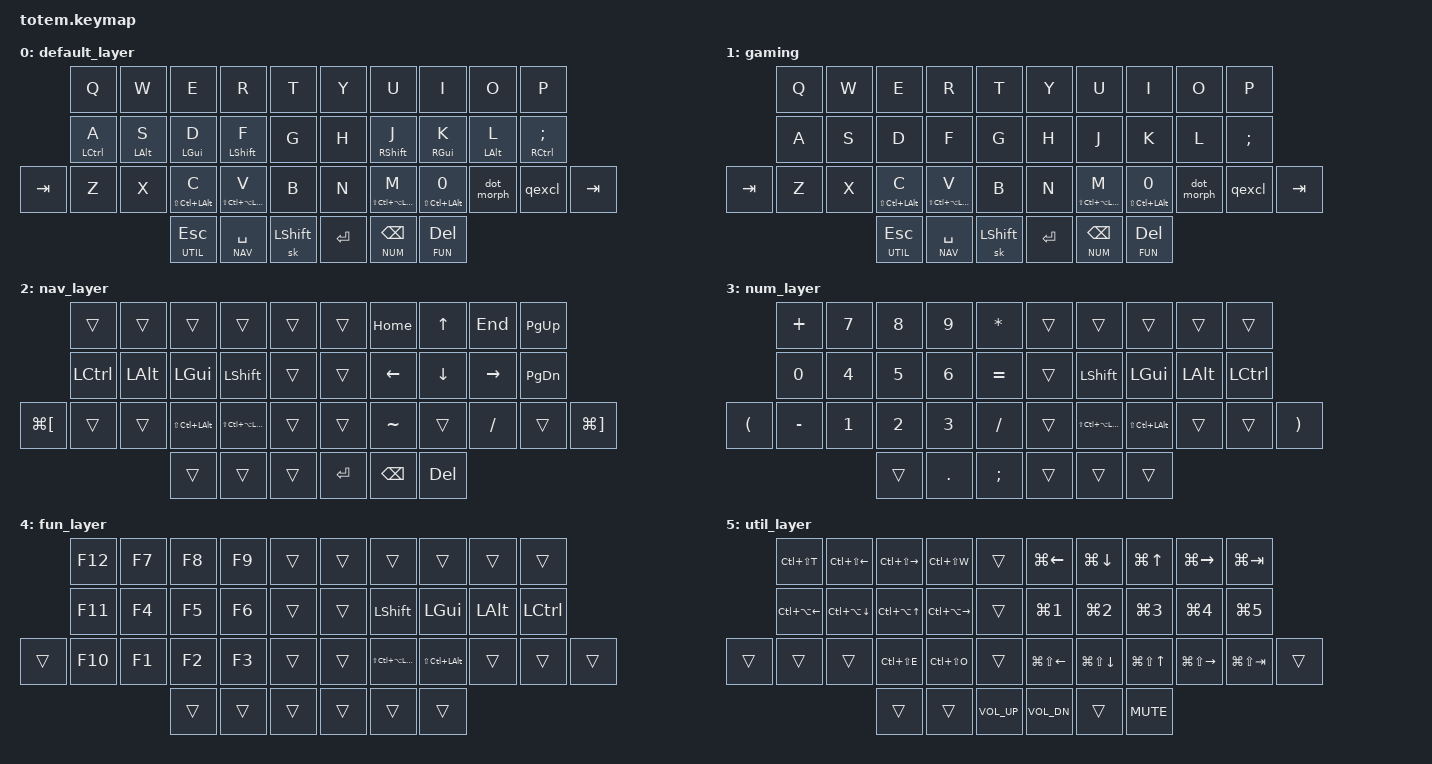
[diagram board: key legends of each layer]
#include "zmk-helpers/helper.h"
#include "zmk-helpers/key-labels/totem.h"

#include <behaviors.dtsi>
#include <dt-bindings/zmk/keys.h>
#include <dt-bindings/zmk/bt.h>

#define XXX &none
#define TODO ___
#define ___ &trans

#define BASE 0
#define GAME 1
#define NAV 2
#define NUM 3
#define FUN 4
#define UTIL 5


#include "combos.dtsi"

// navigation bindings for back/forward and prev tab/next tab
#define BACK &kp LG(LBKT)
#define FWD &kp LG(RBKT)

// hyper and meh keys
#define HYP LS(LC(LA(LGUI)))
#define MEH LS(LC(LALT))

/* ------------------------ general config ----------------------- */

#define QUICK_TAP_MS 175

// smart-layer config
&caps_word { 
    // /delete-property/ ignore-modifiers; // mods deactivate, requires PR #1451
    /delete-property/ ignore-numbers;
    continue-list = <BACKSPACE ENTER DELETE UNDERSCORE MINUS>;
};

// key-repeat config
&key_repeat {
    usage-pages = <HID_USAGE_KEY HID_USAGE_CONSUMER>; // repeat all keys
};

// sticky key aka 'one-shot mods'
&sk {
    release-after-ms = <2000>;
    quick-release;
};

// default layer-tap config
&lt {  
    flavor = "balanced";
    tapping-term-ms = <250>;
    quick-tap-ms = <QUICK_TAP_MS>;
};

#define KEYS_L LT0 LT1 LT2 LT3 LT4 LM0 LM1 LM2 LM3 LM4 LB0 LB1 LB2 LB3 LB4 LB5  // left hand
#define KEYS_R RT0 RT1 RT2 RT3 RT4 RM0 RM1 RM2 RM3 RM4 RB0 RB1 RB2 RB3 RB4 RB5 // right hand
#define THUMBS LH2 LH1 LH0 RH0 RH1 RH2                                      // thumbs

#define MAKE_HRM(NAME, HOLD, TAP, TRIGGER_POS) \
    ZMK_BEHAVIOR(NAME, hold_tap, \
        flavor = "balanced"; \
        tapping-term-ms = <280>; \
        quick-tap-ms = <QUICK_TAP_MS>; \
        require-prior-idle-ms = <150>; \
        bindings = <HOLD>, <TAP>; \
        hold-trigger-key-positions = <TRIGGER_POS>; \
        hold-trigger-on-release; \
    )
MAKE_HRM(hml, &kp, &kp, KEYS_R THUMBS)  // left-hand HRMs
MAKE_HRM(hmr, &kp, &kp, KEYS_L THUMBS)  // right-hand HRMs

// special HRMs for the right meh key, as it involves a modmorph
MAKE_HRM(hmr_meh, &kp, &comma_morph, KEYS_L THUMBS)
// MAKE_HRM(hmr_lpar, &kp, &lpar, KEYS_L THUMBS)    // "    "   "   "
// MAKE_HRM(hmr_rpar, &kp, &rpar, KEYS_L THUMBS)    // "    "   "   "

// mod_morph keys
// tap: qmark | shift + tap: excl
ZMK_BEHAVIOR(qexcl, mod_morph,
    bindings = <&kp QMARK>, <&kp EXCL>;
    mods = <(MOD_LSFT|MOD_RSFT)>;
)

// tap: comma | shift + tap: semicolon 
ZMK_BEHAVIOR(comma_morph, mod_morph,
    bindings = <&kp COMMA>, <&kp SEMICOLON>;
    mods = <(MOD_LSFT|MOD_RSFT)>;
)

// tap: dot | shift + tap: colon 
ZMK_BEHAVIOR(dot_morph, mod_morph,
    bindings = <&kp DOT>, <&kp COLON>;
    mods = <(MOD_LSFT|MOD_RSFT)>;
)



/ {
    keymap {
        compatible = "zmk,keymap";
        default_layer {
            bindings = <
            &kp Q         &kp W         &kp E            &kp R            &kp T              &kp Y         &kp U              &kp I            &kp O         &kp P 
            &hml LCTRL A  &hml LALT S   &hml LGUI D      &hml LSHFT F     &kp G              &kp H         &hmr RSHFT J       &hmr RGUI K      &hmr LALT L   &hmr RCTRL SEMI
&kp TAB    &kp Z         &kp X         &hml MEH C       &hml HYP V       &kp B              &kp N         &hmr HYP M         &hmr_meh MEH 0   &dot_morph    &qexcl        &kp TAB
                                        &lt UTIL ESC     &lt NAV SPACE    &sk LSHFT          &kp RET       &lt NUM BSPC       &lt FUN DEL
            >;
        };
        gaming {
            bindings = <
            &kp Q        &kp W         &kp E            &kp R            &kp T              &kp Y         &kp U              &kp I            &kp O         &kp P 
            &kp A        &kp S         &kp D            &kp F            &kp G              &kp H         &kp J              &kp K            &kp L         &kp SEMI
&kp TAB    &kp Z         &kp X         &hml MEH C       &hml HYP V       &kp B              &kp N         &hmr HYP M         &hmr_meh MEH 0   &dot_morph    &qexcl        &kp TAB
                                        &lt UTIL ESC    &lt NAV SPACE    &sk LSHFT          &kp RET       &lt NUM BSPC       &lt FUN DEL
            >;
        };  
        nav_layer { 
            bindings = <
            ___          ___          ___             ___             ___                ___           &kp HOME          &kp UP          &kp END       &kp PAGE_UP 
            &kp LCTRL     &kp LALT     &kp LGUI       &kp LSHFT       ___                ___           &kp LEFT          &kp DOWN        &kp RIGHT     &kp PAGE_DOWN
    BACK    ___           ___          &kp MEH         &kp HYP         ___                ___          &kp TILDE         ___             &kp FSLH      ___             FWD
                                       ___            ___             ___                &kp RET       &kp BSPC          &kp DEL
            >;
        }; 
        num_layer {
            bindings = <
            &kp PLUS     &kp N7       &kp N8          &kp  N9         &kp STAR           ___           ___               ___             ___           ___ 
            &kp N0       &kp N4       &kp N5          &kp  N6         &kp EQUAL          ___           &kp LSHFT         &kp LGUI        &kp LALT      &kp LCTRL
  &kp LPAR  &kp MINUS    &kp N1       &kp N2          &kp  N3         &kp FSLH           ___           &kp HYP           &kp MEH         ___           ___            &kp RPAR
                                      ___             &kp  DOT        &kp SEMI           ___           ___               ___
            >;
        };
        fun_layer {
            bindings = <
            &kp F12      &kp F7       &kp F8          &kp F9          ___                ___           ___               ___             ___           ___
            &kp F11      &kp F4       &kp F5          &kp F6          ___                ___           &kp LSHFT         &kp LGUI        &kp LALT      &kp LCTRL 
    ___     &kp F10      &kp F1       &kp F2          &kp F3          ___                ___           &kp HYP           &kp MEH         ___           ___             ___
                                      ___             ___             ___                ___           ___               ___
            >;
        };
        util_layer {
            // Window-management layer.
            //   Left hand   → Ghostty terminal (Ctrl+Shift base, Linux defaults)
            //                 LT row: new_tab / prev_tab / next_tab / close_surface
            //                 LM row: goto_split left/down/up/right  (Ctrl+Alt+arrow)
            //                 LB row: new_split:down (E) / new_split:right (O)
            //   Right hand  → Hyprland (Super base, Omarchy verbatim)
            //                 RT row: focus left/down/up/right + next_ws (Super+Tab)
            //                 RM row: workspaces 1..5 direct
            //                 RB row: swap-window left/down/up/right + prev_ws (Super+Shift+Tab)
            //   Thumbs      → Volume + Mute (moved here from the old alpha positions)
            bindings = <
            &kp LC(LS(T))    &kp LC(LS(LEFT)) &kp LC(LS(RIGHT)) &kp LC(LS(W))    ___                &kp LG(LEFT)  &kp LG(DOWN)      &kp LG(UP)         &kp LG(RIGHT)      &kp LG(TAB)
            &kp LC(LA(LEFT)) &kp LC(LA(DOWN)) &kp LC(LA(UP))    &kp LC(LA(RIGHT)) ___               &kp LG(N1)    &kp LG(N2)        &kp LG(N3)        &kp LG(N4)         &kp LG(N5)
    ___     ___              ___              &kp LC(LS(E))     &kp LC(LS(O))    ___                &kp LG(LS(LEFT)) &kp LG(LS(DOWN)) &kp LG(LS(UP))   &kp LG(LS(RIGHT)) &kp LG(LS(TAB))   ___
                                              ___               ___              &kp C_VOL_UP       &kp C_VOL_DN  ___               &kp C_MUTE
            >;
        };
        
    };
};
    
/* --------------------------------- combos --------------------------------- */
/*
   ╭────────────────────┬────────────────────╮     ╭─────────────────────┬─────────────────────╮
   │  0   1   2   3   4 │  5   6   7   8   9 │     │ LT4 LT3 LT2 LT1 LT0 │ RT0 RT1 RT2 RT3 RT4 │
   │ 10  11  12  13  14 │ 15  16  17  18  19 │     │ LM4 LM3 LM2 LM1 LM0 │ RM0 RM1 RM2 RM3 RM4 │
  20 21  22  23  24  25 │ 26  27  28  29  30 31  LB5 LB4 LB3 LB2 LB1 LB0 │ RB0 RB1 RB2 RB3 RB4 RB5
   ╰───────╮ 32  33  34 │ 35  36  37 ╭───────╯     ╰───────╮ LH2 LH1 LH0 │ RH0 RH1 RH2 ╭───────╯
           ╰────────────┴────────────╯                     ╰─────────────┴─────────────╯             */
// use global-quick-tap-ms for combos (requires PR 1387)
